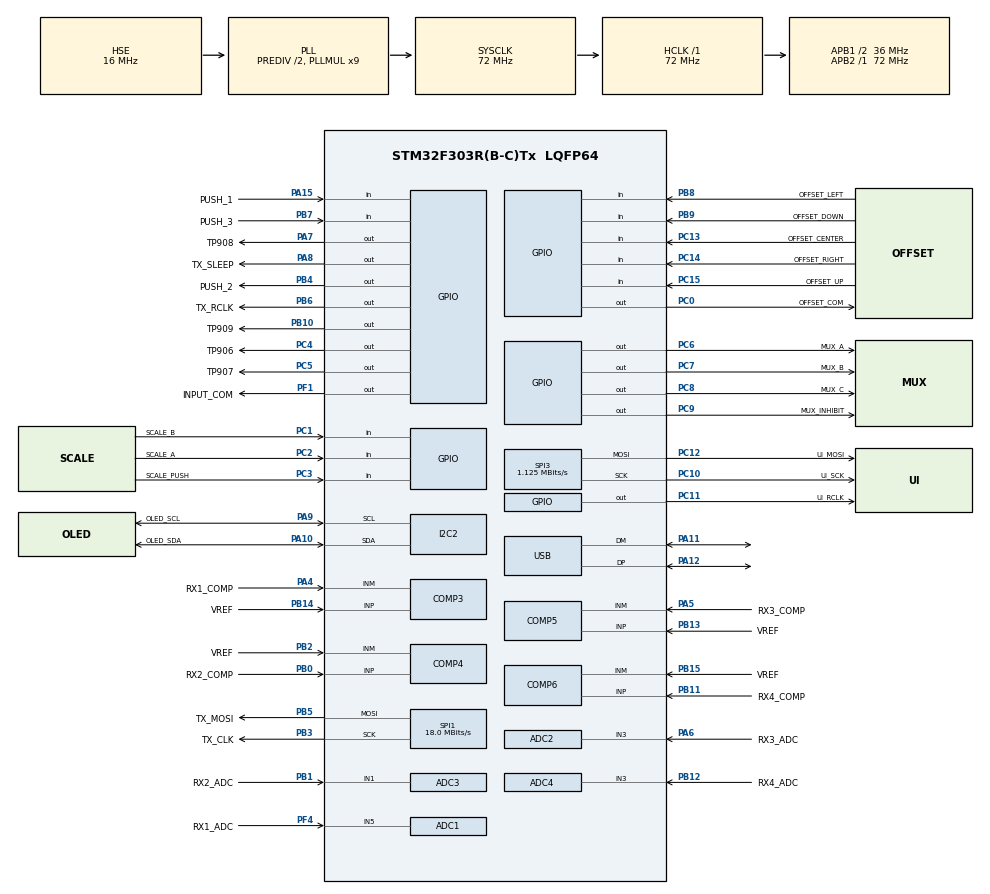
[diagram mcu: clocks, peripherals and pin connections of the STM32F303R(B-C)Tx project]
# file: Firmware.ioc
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ADC1.Channel-0\#ChannelRegularConversion=ADC_CHANNEL_5
ADC1.ClockPrescaler=ADC_CLOCK_SYNC_PCLK_DIV1
ADC1.NbrOfConversionFlag=1
ADC1.Offset-0\#ChannelRegularConversion=0
ADC1.OffsetNumber-0\#ChannelRegularConversion=ADC_OFFSET_NONE
ADC1.Rank-0\#ChannelRegularConversion=1
ADC1.SamplingTime-0\#ChannelRegularConversion=ADC_SAMPLETIME_1CYCLE_5
ADC1.SamplingTimeOPAMP-0\#ChannelRegularConversion=ADC_SAMPLETIME_19CYCLES_5
ADC1.master=1
ADC2.Channel-0\#ChannelRegularConversion=ADC_CHANNEL_3
ADC2.ClockPrescaler=ADC_CLOCK_SYNC_PCLK_DIV1
ADC2.NbrOfConversionFlag=1
ADC2.Offset-0\#ChannelRegularConversion=0
ADC2.OffsetNumber-0\#ChannelRegularConversion=ADC_OFFSET_NONE
ADC2.Rank-0\#ChannelRegularConversion=1
ADC2.SamplingTime-0\#ChannelRegularConversion=ADC_SAMPLETIME_1CYCLE_5
ADC2.SamplingTimeOPAMP-0\#ChannelRegularConversion=ADC_SAMPLETIME_19CYCLES_5
ADC3.Channel-0\#ChannelRegularConversion=ADC_CHANNEL_1
ADC3.ClockPrescaler=ADC_CLOCK_SYNC_PCLK_DIV1
ADC3.NbrOfConversionFlag=1
ADC3.Offset-0\#ChannelRegularConversion=0
ADC3.OffsetNumber-0\#ChannelRegularConversion=ADC_OFFSET_NONE
ADC3.Rank-0\#ChannelRegularConversion=1
ADC3.SamplingTime-0\#ChannelRegularConversion=ADC_SAMPLETIME_1CYCLE_5
ADC3.SamplingTimeOPAMP-0\#ChannelRegularConversion=ADC_SAMPLETIME_4CYCLES_5
ADC3.master=1
ADC4.Channel-0\#ChannelRegularConversion=ADC_CHANNEL_3
ADC4.ClockPrescaler=ADC_CLOCK_SYNC_PCLK_DIV1
ADC4.NbrOfConversionFlag=1
ADC4.Offset-0\#ChannelRegularConversion=0
ADC4.OffsetNumber-0\#ChannelRegularConversion=ADC_OFFSET_NONE
ADC4.Rank-0\#ChannelRegularConversion=1
ADC4.SamplingTime-0\#ChannelRegularConversion=ADC_SAMPLETIME_1CYCLE_5
ADC4.SamplingTimeOPAMP-0\#ChannelRegularConversion=ADC_SAMPLETIME_19CYCLES_5
Dma.ADC1.0.Direction=DMA_PERIPH_TO_MEMORY
Dma.ADC1.0.Instance=DMA1_Channel1
Dma.ADC1.0.MemDataAlignment=DMA_MDATAALIGN_HALFWORD
Dma.ADC1.0.MemInc=DMA_MINC_ENABLE
Dma.ADC1.0.Mode=DMA_NORMAL
Dma.ADC1.0.PeriphDataAlignment=DMA_PDATAALIGN_HALFWORD
Dma.ADC1.0.PeriphInc=DMA_PINC_DISABLE
Dma.ADC1.0.Priority=DMA_PRIORITY_MEDIUM
Dma.ADC2.1.Direction=DMA_PERIPH_TO_MEMORY
Dma.ADC2.1.Instance=DMA2_Channel1
Dma.ADC2.1.MemDataAlignment=DMA_MDATAALIGN_HALFWORD
Dma.ADC2.1.MemInc=DMA_MINC_ENABLE
Dma.ADC2.1.Mode=DMA_NORMAL
Dma.ADC2.1.PeriphDataAlignment=DMA_PDATAALIGN_HALFWORD
Dma.ADC2.1.PeriphInc=DMA_PINC_DISABLE
Dma.ADC2.1.Priority=DMA_PRIORITY_MEDIUM
Dma.ADC3.2.Direction=DMA_PERIPH_TO_MEMORY
Dma.ADC3.2.Instance=DMA2_Channel5
Dma.ADC3.2.MemDataAlignment=DMA_MDATAALIGN_HALFWORD
Dma.ADC3.2.MemInc=DMA_MINC_ENABLE
Dma.ADC3.2.Mode=DMA_NORMAL
Dma.ADC3.2.PeriphDataAlignment=DMA_PDATAALIGN_HALFWORD
Dma.ADC3.2.PeriphInc=DMA_PINC_DISABLE
Dma.ADC3.2.Priority=DMA_PRIORITY_MEDIUM
Dma.ADC4.3.Direction=DMA_PERIPH_TO_MEMORY
Dma.ADC4.3.Instance=DMA2_Channel2
Dma.ADC4.3.MemDataAlignment=DMA_MDATAALIGN_HALFWORD
Dma.ADC4.3.MemInc=DMA_MINC_ENABLE
Dma.ADC4.3.Mode=DMA_NORMAL
Dma.ADC4.3.PeriphDataAlignment=DMA_PDATAALIGN_HALFWORD
Dma.ADC4.3.PeriphInc=DMA_PINC_DISABLE
Dma.ADC4.3.Priority=DMA_PRIORITY_MEDIUM
Dma.Request0=ADC1
Dma.Request1=ADC2
Dma.Request2=ADC3
Dma.Request3=ADC4
FREERTOS.Tasks01=USB_Transmit,0,128,StartUSB_Transmit,Default,NULL,Dynamic,NULL,NULL;LED_Write,-2,128,StartLED_Write,Default,NULL,Dynamic,NULL,NULL;UI_Read,-2,128,StartUI_Read,Default,NULL,Dynamic,NULL,NULL
I2C2.Timing=0x00201D2B
Mcu.Family=STM32F3
Mcu.Name=STM32F303R(B-C)Tx
Mcu.Package=LQFP64
NVIC.ADC1_2_IRQn=true\:5\:0\:false\:false\:true\:true\:true\:true\:true
NVIC.ADC3_IRQn=true\:5\:0\:false\:false\:true\:true\:true\:true\:true
NVIC.ADC4_IRQn=true\:5\:0\:false\:false\:true\:true\:true\:true\:true
NVIC.DMA1_Channel1_IRQn=true\:5\:0\:false\:false\:true\:true\:false\:true\:true
NVIC.DMA2_Channel1_IRQn=true\:5\:0\:false\:false\:true\:true\:false\:true\:true
NVIC.DMA2_Channel2_IRQn=true\:5\:0\:false\:false\:true\:true\:false\:true\:true
NVIC.DMA2_Channel5_IRQn=true\:5\:0\:false\:false\:true\:true\:false\:true\:true
NVIC.PriorityGroup=NVIC_PRIORITYGROUP_4
NVIC.TIM1_UP_TIM16_IRQn=true\:15\:0\:false\:false\:true\:false\:false\:true\:true
NVIC.TimeBase=TIM1_UP_TIM16_IRQn
NVIC.TimeBaseIP=TIM1
NVIC.USB_LP_CAN_RX0_IRQn=true\:5\:0\:false\:false\:true\:true\:false\:true\:true
PA10.GPIO_Label=OLED_SDA
PA10.Mode=I2C
PA10.Signal=I2C2_SDA
PA11.Mode=Device
PA11.Signal=USB_DM
PA12.Mode=Device
PA12.Signal=USB_DP
PA13.Mode=Serial_Wire
PA13.Signal=SYS_JTMS-SWDIO
PA14.Mode=Serial_Wire
PA14.Signal=SYS_JTCK-SWCLK
PA15.GPIO_Label=PUSH_1
PA15.Signal=GPIO_Input
PA4.GPIO_Label=RX1_COMP
PA4.Mode=INM
PA4.Signal=COMP3_INM
PA5.GPIO_Label=RX3_COMP
PA5.Mode=INM
PA5.Signal=COMP5_INM
PA6.GPIO_Label=RX3_ADC
PA6.Mode=IN3-Single-Ended
PA6.Signal=ADC2_IN3
PA7.GPIO_Label=TP908
PA7.Signal=GPIO_Output
PA8.GPIO_Label=TX_SLEEP
PA8.Signal=GPIO_Output
PA9.GPIO_Label=OLED_SCL
PA9.Mode=I2C
PA9.Signal=I2C2_SCL
PB0.GPIO_Label=RX2_COMP
PB0.Mode=INP
PB0.Signal=COMP4_INP
PB1.GPIO_Label=RX2_ADC
PB1.Mode=IN1-Single-Ended
PB1.Signal=ADC3_IN1
PB10.GPIO_Label=TP909
PB10.Signal=GPIO_Output
PB11.GPIO_Label=RX4_COMP
PB11.Mode=INP
PB11.Signal=COMP6_INP
PB12.GPIO_Label=RX4_ADC
PB12.Mode=IN3-Single-Ended
PB12.Signal=ADC4_IN3
PB13.GPIO_Label=VREF
PB13.Mode=INP
PB13.Signal=COMP5_INP
PB14.GPIO_Label=VREF
PB14.Mode=INP
PB14.Signal=COMP3_INP
PB15.GPIO_Label=VREF
PB15.Mode=INM
PB15.Signal=COMP6_INM
PB2.GPIO_Label=VREF
PB2.Mode=INM
PB2.Signal=COMP4_INM
PB3.GPIO_Label=TX_CLK
PB3.Mode=TX_Only_Simplex_Unidirect_Master
PB3.Signal=SPI1_SCK
PB4.GPIO_Label=PUSH_2
PB4.Signal=GPIO_Output
PB5.GPIO_Label=TX_MOSI
PB5.Mode=TX_Only_Simplex_Unidirect_Master
PB5.Signal=SPI1_MOSI
PB6.GPIO_Label=TX_RCLK
PB6.Signal=GPIO_Output
PB7.GPIO_Label=PUSH_3
PB7.Signal=GPIO_Input
PB8.GPIO_Label=OFFSET_LEFT
PB8.Signal=GPIO_Input
PB9.GPIO_Label=OFFSET_DOWN
PB9.Signal=GPIO_Input
PC0.GPIO_Label=OFFSET_COM
PC0.Signal=GPIO_Output
PC1.GPIO_Label=SCALE_B
PC1.Signal=GPIO_Input
PC10.GPIO_Label=UI_SCK
PC10.Mode=TX_Only_Simplex_Unidirect_Master
PC10.Signal=SPI3_SCK
PC11.GPIO_Label=UI_RCLK
PC11.Signal=GPIO_Output
PC12.GPIO_Label=UI_MOSI
PC12.Mode=TX_Only_Simplex_Unidirect_Master
PC12.Signal=SPI3_MOSI
PC13.GPIO_Label=OFFSET_CENTER
PC13.Signal=GPIO_Input
PC14-OSC32_IN.GPIO_Label=OFFSET_RIGHT
PC14-OSC32_IN.Signal=GPIO_Input
PC15-OSC32_OUT.GPIO_Label=OFFSET_UP
PC15-OSC32_OUT.Signal=GPIO_Input
PC2.GPIO_Label=SCALE_A
PC2.Signal=GPIO_Input
PC3.GPIO_Label=SCALE_PUSH
PC3.Signal=GPIO_Input
PC4.GPIO_Label=TP906
PC4.Signal=GPIO_Output
PC5.GPIO_Label=TP907
PC5.Signal=GPIO_Output
PC6.GPIO_Label=MUX_A
PC6.Signal=GPIO_Output
PC7.GPIO_Label=MUX_B
PC7.Signal=GPIO_Output
PC8.GPIO_Label=MUX_C
PC8.Signal=GPIO_Output
PC9.GPIO_Label=MUX_INHIBIT
PC9.Signal=GPIO_Output
PF0-OSC_IN.Mode=HSE-External-Clock-Source
PF0-OSC_IN.Signal=RCC_OSC_IN
PF1-OSC_OUT.GPIO_Label=INPUT_COM
PF1-OSC_OUT.Signal=GPIO_Output
PF4.GPIO_Label=RX1_ADC
PF4.Mode=IN5-Single-Ended
PF4.Signal=ADC1_IN5
ProjectManager.HeapSize=0x200
ProjectManager.StackSize=0x400
ProjectManager.TargetToolchain=STM32CubeIDE
RCC.AHBFreq_Value=72000000
RCC.APB1CLKDivider=RCC_HCLK_DIV2
RCC.APB1Freq_Value=36000000
RCC.APB1TimFreq_Value=72000000
RCC.APB2Freq_Value=72000000
RCC.APB2TimFreq_Value=72000000
RCC.CortexFreq_Value=72000000
RCC.HCLKFreq_Value=72000000
RCC.HSE_VALUE=16000000
RCC.HSI_VALUE=8000000
RCC.LSE_VALUE=32768
RCC.PLLMUL=RCC_PLL_MUL9
RCC.PRESCALERUSB=RCC_USBCLKSOURCE_PLL_DIV1_5
RCC.RCC_PLLsource_Clock_Source_FROM_HSE=RCC_HSE_PREDIV_DIV2
RCC.SYSCLKFreq_VALUE=72000000
RCC.SYSCLKSourceVirtual=RCC_SYSCLKSOURCE_PLLCLK
RCC.USBFreq_Value=48000000
SPI1.BaudRatePrescaler=SPI_BAUDRATEPRESCALER_4
SPI1.CalculateBaudRate=18.0 MBits/s
SPI1.Direction=SPI_DIRECTION_2LINES
SPI1.Mode=SPI_MODE_MASTER
SPI1.VirtualType=VM_MASTER
SPI3.BaudRatePrescaler=SPI_BAUDRATEPRESCALER_32
SPI3.CalculateBaudRate=1.125 MBits/s
SPI3.DataSize=SPI_DATASIZE_8BIT
SPI3.Direction=SPI_DIRECTION_2LINES
SPI3.FirstBit=SPI_FIRSTBIT_LSB
SPI3.Mode=SPI_MODE_MASTER
SPI3.VirtualType=VM_MASTER
USB_DEVICE.CLASS_NAME_FS=CDC
USB_DEVICE.VirtualMode=Cdc
USB_DEVICE.VirtualModeFS=Cdc_FS
VP_FREERTOS_VS_CMSIS_V1.Mode=CMSIS_V1
VP_SYS_VS_tim1.Mode=TIM1
VP_USB_DEVICE_VS_USB_DEVICE_CDC_FS.Mode=CDC_FS
board=custom

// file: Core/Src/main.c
/* USER CODE BEGIN Header */
/**
  ******************************************************************************
  * @file           : main.c
  * @brief          : Main program body
  ******************************************************************************
  * @attention
  *
  * Copyright (c) 2025 STMicroelectronics.
  * All rights reserved.
  *
  * This software is licensed under terms that can be found in the LICENSE file
  * in the root directory of this software component.
  * If no LICENSE file comes with this software, it is provided AS-IS.
  *
  ******************************************************************************
  */
/* USER CODE END Header */
#include "main.h"
#include "cmsis_os.h"
#include "usb_device.h"

/* USER CODE BEGIN Includes */
#include "usbd_cdc_if.h"
#include "string.h"
#include "ssd1306_fonts.h"
#include "ssd1306.h"
#include "ssd1306_conf.h"
#include "usbd_core.h"
/* USER CODE END Includes */

ADC_HandleTypeDef hadc1;
ADC_HandleTypeDef hadc2;
ADC_HandleTypeDef hadc3;
ADC_HandleTypeDef hadc4;
DMA_HandleTypeDef hdma_adc1;
DMA_HandleTypeDef hdma_adc2;
DMA_HandleTypeDef hdma_adc3;
DMA_HandleTypeDef hdma_adc4;

COMP_HandleTypeDef hcomp3;
COMP_HandleTypeDef hcomp4;
COMP_HandleTypeDef hcomp5;
COMP_HandleTypeDef hcomp6;

I2C_HandleTypeDef hi2c2;

SPI_HandleTypeDef hspi1;
SPI_HandleTypeDef hspi3;

osThreadId USB_TransmitHandle;
osThreadId LED_WriteHandle;
osThreadId UI_ReadHandle;

void SystemClock_Config(void);
static void MX_GPIO_Init(void);
static void MX_DMA_Init(void);
static void MX_ADC3_Init(void);
static void MX_COMP3_Init(void);
static void MX_COMP4_Init(void);
static void MX_COMP5_Init(void);
static void MX_COMP6_Init(void);
static void MX_ADC1_Init(void);
static void MX_ADC2_Init(void);
static void MX_ADC4_Init(void);
static void MX_I2C2_Init(void);
static void MX_SPI1_Init(void);
static void MX_SPI3_Init(void);
void StartUSB_Transmit(void const * argument);
void StartLED_Write(void const * argument);
void StartUI_Read(void const * argument);

/* USER CODE BEGIN 0 */
char *usbdata = "Poles: Zeroes: \n";
char *startupmessage = "STARTING...";

uint8_t led_status = 0b01111111;

int32_t encoder1_count = 0;
int32_t encoder2_count = 0;
uint8_t last_a_encoder1 = 0;
uint8_t last_a_encoder2 = 0;

uint8_t button1_state = 0;
uint8_t button2_state = 0;
uint8_t button3_state = 0;
uint8_t encoder1_button_state = 0;
uint8_t encoder2_button_state = 0;

uint8_t dpad1_up = 0;
uint8_t dpad1_down = 0;
uint8_t dpad1_left = 0;
uint8_t dpad1_right = 0;
uint8_t dpad1_button = 0;
uint8_t dpad2_up = 0;
uint8_t dpad2_down = 0;
uint8_t dpad2_left = 0;
uint8_t dpad2_right = 0;
uint8_t dpad2_button = 0;

uint8_t a1 = 0;
uint8_t a2 = 0;
uint8_t b1 = 0;
uint8_t b2 = 0;
/* USER CODE END 0 */

int main(void)
{

  /* MCU Configuration--------------------------------------------------------*/

  /* Reset of all peripherals, Initializes the Flash interface and the Systick. */
  HAL_Init();

  /* Configure the system clock */
  SystemClock_Config();

  /* Initialize all configured peripherals */
  MX_GPIO_Init();
  MX_DMA_Init();
  MX_ADC3_Init();
  MX_COMP3_Init();
  MX_COMP4_Init();
  MX_COMP5_Init();
  MX_COMP6_Init();
  MX_ADC1_Init();
  MX_ADC2_Init();
  MX_ADC4_Init();
  MX_I2C2_Init();
  MX_SPI1_Init();
  MX_SPI3_Init();
  /* USER CODE BEGIN 2 */

  ssd1306_Init();
  ssd1306_Fill(White);
  ssd1306_SetCursor(6, 20);
  ssd1306_WriteString(startupmessage, Font_6x8, Black);
  ssd1306_UpdateScreen();

  MX_USB_DEVICE_Init();

  /* USER CODE END 2 */

  /* Create the thread(s) */
  /* definition and creation of USB_Transmit */
  osThreadDef(USB_Transmit, StartUSB_Transmit, osPriorityNormal, 0, 128);
  USB_TransmitHandle = osThreadCreate(osThread(USB_Transmit), NULL);

  /* definition and creation of LED_Write */
  osThreadDef(LED_Write, StartLED_Write, osPriorityLow, 0, 128);
  LED_WriteHandle = osThreadCreate(osThread(LED_Write), NULL);

  /* definition and creation of UI_Read */
  osThreadDef(UI_Read, StartUI_Read, osPriorityLow, 0, 128);
  UI_ReadHandle = osThreadCreate(osThread(UI_Read), NULL);

  /* Start scheduler */
  osKernelStart();

  /* We should never get here as control is now taken by the scheduler */

  /* Infinite loop */
  while (1)
  {

  }
}

void SystemClock_Config(void)
{
  RCC_OscInitTypeDef RCC_OscInitStruct = {0};
  RCC_ClkInitTypeDef RCC_ClkInitStruct = {0};
  RCC_PeriphCLKInitTypeDef PeriphClkInit = {0};

  /** Initializes the RCC Oscillators according to the specified parameters
  * in the RCC_OscInitTypeDef structure.
  */
  RCC_OscInitStruct.OscillatorType = RCC_OSCILLATORTYPE_HSI|RCC_OSCILLATORTYPE_HSE;
  RCC_OscInitStruct.HSEState = RCC_HSE_BYPASS;
  RCC_OscInitStruct.HSEPredivValue = RCC_HSE_PREDIV_DIV2;
  RCC_OscInitStruct.HSIState = RCC_HSI_ON;
  RCC_OscInitStruct.HSICalibrationValue = RCC_HSICALIBRATION_DEFAULT;
  RCC_OscInitStruct.PLL.PLLState = RCC_PLL_ON;
  RCC_OscInitStruct.PLL.PLLSource = RCC_PLLSOURCE_HSE;
  RCC_OscInitStruct.PLL.PLLMUL = RCC_PLL_MUL9;
  if (HAL_RCC_OscConfig(&RCC_OscInitStruct) != HAL_OK)
  {
    Error_Handler();
  }

  /** Initializes the CPU, AHB and APB buses clocks
  */
  RCC_ClkInitStruct.ClockType = RCC_CLOCKTYPE_HCLK|RCC_CLOCKTYPE_SYSCLK
                              |RCC_CLOCKTYPE_PCLK1|RCC_CLOCKTYPE_PCLK2;
  RCC_ClkInitStruct.SYSCLKSource = RCC_SYSCLKSOURCE_PLLCLK;
  RCC_ClkInitStruct.AHBCLKDivider = RCC_SYSCLK_DIV1;
  RCC_ClkInitStruct.APB1CLKDivider = RCC_HCLK_DIV2;
  RCC_ClkInitStruct.APB2CLKDivider = RCC_HCLK_DIV1;

  if (HAL_RCC_ClockConfig(&RCC_ClkInitStruct, FLASH_LATENCY_2) != HAL_OK)
  {
    Error_Handler();
  }
  PeriphClkInit.PeriphClockSelection = RCC_PERIPHCLK_USB|RCC_PERIPHCLK_I2C2;
  PeriphClkInit.I2c2ClockSelection = RCC_I2C2CLKSOURCE_HSI;
  PeriphClkInit.USBClockSelection = RCC_USBCLKSOURCE_PLL_DIV1_5;
  if (HAL_RCCEx_PeriphCLKConfig(&PeriphClkInit) != HAL_OK)
  {
    Error_Handler();
  }
}

static void MX_ADC1_Init(void)
{

  ADC_MultiModeTypeDef multimode = {0};
  ADC_ChannelConfTypeDef sConfig = {0};

  /** Common config
  */
  hadc1.Instance = ADC1;
  hadc1.Init.ClockPrescaler = ADC_CLOCK_SYNC_PCLK_DIV1;
  hadc1.Init.Resolution = ADC_RESOLUTION_12B;
  hadc1.Init.ScanConvMode = ADC_SCAN_DISABLE;
  hadc1.Init.ContinuousConvMode = DISABLE;
  hadc1.Init.DiscontinuousConvMode = DISABLE;
  hadc1.Init.ExternalTrigConvEdge = ADC_EXTERNALTRIGCONVEDGE_NONE;
  hadc1.Init.ExternalTrigConv = ADC_SOFTWARE_START;
  hadc1.Init.DataAlign = ADC_DATAALIGN_RIGHT;
  hadc1.Init.NbrOfConversion = 1;
  hadc1.Init.DMAContinuousRequests = DISABLE;
  hadc1.Init.EOCSelection = ADC_EOC_SINGLE_CONV;
  hadc1.Init.LowPowerAutoWait = DISABLE;
  hadc1.Init.Overrun = ADC_OVR_DATA_OVERWRITTEN;
  if (HAL_ADC_Init(&hadc1) != HAL_OK)
  {
    Error_Handler();
  }

  /** Configure the ADC multi-mode
  */
  multimode.Mode = ADC_MODE_INDEPENDENT;
  if (HAL_ADCEx_MultiModeConfigChannel(&hadc1, &multimode) != HAL_OK)
  {
    Error_Handler();
  }

  /** Configure Regular Channel
  */
  sConfig.Channel = ADC_CHANNEL_5;
  sConfig.Rank = ADC_REGULAR_RANK_1;
  sConfig.SingleDiff = ADC_SINGLE_ENDED;
  sConfig.SamplingTime = ADC_SAMPLETIME_1CYCLE_5;
  sConfig.OffsetNumber = ADC_OFFSET_NONE;
  sConfig.Offset = 0;
  if (HAL_ADC_ConfigChannel(&hadc1, &sConfig) != HAL_OK)
  {
    Error_Handler();
  }

}

static void MX_ADC2_Init(void)
{

  ADC_ChannelConfTypeDef sConfig = {0};

  /** Common config
  */
  hadc2.Instance = ADC2;
  hadc2.Init.ClockPrescaler = ADC_CLOCK_SYNC_PCLK_DIV1;
  hadc2.Init.Resolution = ADC_RESOLUTION_12B;
  hadc2.Init.ScanConvMode = ADC_SCAN_DISABLE;
  hadc2.Init.ContinuousConvMode = DISABLE;
  hadc2.Init.DiscontinuousConvMode = DISABLE;
  hadc2.Init.ExternalTrigConvEdge = ADC_EXTERNALTRIGCONVEDGE_NONE;
  hadc2.Init.ExternalTrigConv = ADC_SOFTWARE_START;
  hadc2.Init.DataAlign = ADC_DATAALIGN_RIGHT;
  hadc2.Init.NbrOfConversion = 1;
  hadc2.Init.DMAContinuousRequests = DISABLE;
  hadc2.Init.EOCSelection = ADC_EOC_SINGLE_CONV;
  hadc2.Init.LowPowerAutoWait = DISABLE;
  hadc2.Init.Overrun = ADC_OVR_DATA_OVERWRITTEN;
  if (HAL_ADC_Init(&hadc2) != HAL_OK)
  {
    Error_Handler();
  }

  /** Configure Regular Channel
  */
  sConfig.Channel = ADC_CHANNEL_3;
  sConfig.Rank = ADC_REGULAR_RANK_1;
  sConfig.SingleDiff = ADC_SINGLE_ENDED;
  sConfig.SamplingTime = ADC_SAMPLETIME_1CYCLE_5;
  sConfig.OffsetNumber = ADC_OFFSET_NONE;
  sConfig.Offset = 0;
  if (HAL_ADC_ConfigChannel(&hadc2, &sConfig) != HAL_OK)
  {
    Error_Handler();
  }

}

static void MX_ADC3_Init(void)
{

  ADC_MultiModeTypeDef multimode = {0};
  ADC_ChannelConfTypeDef sConfig = {0};

  /** Common config
  */
  hadc3.Instance = ADC3;
  hadc3.Init.ClockPrescaler = ADC_CLOCK_SYNC_PCLK_DIV1;
  hadc3.Init.Resolution = ADC_RESOLUTION_12B;
  hadc3.Init.ScanConvMode = ADC_SCAN_DISABLE;
  hadc3.Init.ContinuousConvMode = DISABLE;
  hadc3.Init.DiscontinuousConvMode = DISABLE;
  hadc3.Init.ExternalTrigConvEdge = ADC_EXTERNALTRIGCONVEDGE_NONE;
  hadc3.Init.ExternalTrigConv = ADC_SOFTWARE_START;
  hadc3.Init.DataAlign = ADC_DATAALIGN_RIGHT;
  hadc3.Init.NbrOfConversion = 1;
  hadc3.Init.DMAContinuousRequests = DISABLE;
  hadc3.Init.EOCSelection = ADC_EOC_SINGLE_CONV;
  hadc3.Init.LowPowerAutoWait = DISABLE;
  hadc3.Init.Overrun = ADC_OVR_DATA_OVERWRITTEN;
  if (HAL_ADC_Init(&hadc3) != HAL_OK)
  {
    Error_Handler();
  }

  /** Configure the ADC multi-mode
  */
  multimode.Mode = ADC_MODE_INDEPENDENT;
  if (HAL_ADCEx_MultiModeConfigChannel(&hadc3, &multimode) != HAL_OK)
  {
    Error_Handler();
  }

  /** Configure Regular Channel
  */
  sConfig.Channel = ADC_CHANNEL_1;
  sConfig.Rank = ADC_REGULAR_RANK_1;
  sConfig.SingleDiff = ADC_SINGLE_ENDED;
  sConfig.SamplingTime = ADC_SAMPLETIME_1CYCLE_5;
  sConfig.OffsetNumber = ADC_OFFSET_NONE;
  sConfig.Offset = 0;
  if (HAL_ADC_ConfigChannel(&hadc3, &sConfig) != HAL_OK)
  {
    Error_Handler();
  }

}

static void MX_ADC4_Init(void)
{

  ADC_ChannelConfTypeDef sConfig = {0};

  /** Common config
  */
  hadc4.Instance = ADC4;
  hadc4.Init.ClockPrescaler = ADC_CLOCK_SYNC_PCLK_DIV1;
  hadc4.Init.Resolution = ADC_RESOLUTION_12B;
  hadc4.Init.ScanConvMode = ADC_SCAN_DISABLE;
  hadc4.Init.ContinuousConvMode = DISABLE;
  hadc4.Init.DiscontinuousConvMode = DISABLE;
  hadc4.Init.ExternalTrigConvEdge = ADC_EXTERNALTRIGCONVEDGE_NONE;
  hadc4.Init.ExternalTrigConv = ADC_SOFTWARE_START;
  hadc4.Init.DataAlign = ADC_DATAALIGN_RIGHT;
  hadc4.Init.NbrOfConversion = 1;
  hadc4.Init.DMAContinuousRequests = DISABLE;
  hadc4.Init.EOCSelection = ADC_EOC_SINGLE_CONV;
  hadc4.Init.LowPowerAutoWait = DISABLE;
  hadc4.Init.Overrun = ADC_OVR_DATA_OVERWRITTEN;
  if (HAL_ADC_Init(&hadc4) != HAL_OK)
  {
    Error_Handler();
  }

  /** Configure Regular Channel
  */
  sConfig.Channel = ADC_CHANNEL_3;
  sConfig.Rank = ADC_REGULAR_RANK_1;
  sConfig.SingleDiff = ADC_SINGLE_ENDED;
  sConfig.SamplingTime = ADC_SAMPLETIME_1CYCLE_5;
  sConfig.OffsetNumber = ADC_OFFSET_NONE;
  sConfig.Offset = 0;
  if (HAL_ADC_ConfigChannel(&hadc4, &sConfig) != HAL_OK)
  {
    Error_Handler();
  }

}

static void MX_COMP3_Init(void)
{

  hcomp3.Instance = COMP3;
  hcomp3.Init.InvertingInput = COMP_INVERTINGINPUT_DAC1_CH1;
  hcomp3.Init.NonInvertingInput = COMP_NONINVERTINGINPUT_IO1;
  hcomp3.Init.Output = COMP_OUTPUT_NONE;
  hcomp3.Init.OutputPol = COMP_OUTPUTPOL_NONINVERTED;
  hcomp3.Init.Hysteresis = COMP_HYSTERESIS_NONE;
  hcomp3.Init.BlankingSrce = COMP_BLANKINGSRCE_NONE;
  hcomp3.Init.Mode = COMP_MODE_HIGHSPEED;
  hcomp3.Init.WindowMode = COMP_WINDOWMODE_DISABLE;
  hcomp3.Init.TriggerMode = COMP_TRIGGERMODE_NONE;
  if (HAL_COMP_Init(&hcomp3) != HAL_OK)
  {
    Error_Handler();
  }

}

static void MX_COMP4_Init(void)
{

  hcomp4.Instance = COMP4;
  hcomp4.Init.InvertingInput = COMP_INVERTINGINPUT_IO2;
  hcomp4.Init.NonInvertingInput = COMP_NONINVERTINGINPUT_IO1;
  hcomp4.Init.Output = COMP_OUTPUT_NONE;
  hcomp4.Init.OutputPol = COMP_OUTPUTPOL_NONINVERTED;
  hcomp4.Init.Hysteresis = COMP_HYSTERESIS_NONE;
  hcomp4.Init.BlankingSrce = COMP_BLANKINGSRCE_NONE;
  hcomp4.Init.Mode = COMP_MODE_HIGHSPEED;
  hcomp4.Init.WindowMode = COMP_WINDOWMODE_DISABLE;
  hcomp4.Init.TriggerMode = COMP_TRIGGERMODE_NONE;
  if (HAL_COMP_Init(&hcomp4) != HAL_OK)
  {
    Error_Handler();
  }

}

static void MX_COMP5_Init(void)
{

  hcomp5.Instance = COMP5;
  hcomp5.Init.InvertingInput = COMP_INVERTINGINPUT_DAC1_CH2;
  hcomp5.Init.NonInvertingInput = COMP_NONINVERTINGINPUT_IO2;
  hcomp5.Init.Output = COMP_OUTPUT_NONE;
  hcomp5.Init.OutputPol = COMP_OUTPUTPOL_NONINVERTED;
  hcomp5.Init.Hysteresis = COMP_HYSTERESIS_NONE;
  hcomp5.Init.BlankingSrce = COMP_BLANKINGSRCE_NONE;
  hcomp5.Init.Mode = COMP_MODE_HIGHSPEED;
  hcomp5.Init.WindowMode = COMP_WINDOWMODE_DISABLE;
  hcomp5.Init.TriggerMode = COMP_TRIGGERMODE_NONE;
  if (HAL_COMP_Init(&hcomp5) != HAL_OK)
  {
    Error_Handler();
  }

}

static void MX_COMP6_Init(void)
{

  hcomp6.Instance = COMP6;
  hcomp6.Init.InvertingInput = COMP_INVERTINGINPUT_IO2;
  hcomp6.Init.NonInvertingInput = COMP_NONINVERTINGINPUT_IO2;
  hcomp6.Init.Output = COMP_OUTPUT_NONE;
  hcomp6.Init.OutputPol = COMP_OUTPUTPOL_NONINVERTED;
  hcomp6.Init.Hysteresis = COMP_HYSTERESIS_NONE;
  hcomp6.Init.BlankingSrce = COMP_BLANKINGSRCE_NONE;
  hcomp6.Init.Mode = COMP_MODE_HIGHSPEED;
  hcomp6.Init.WindowMode = COMP_WINDOWMODE_DISABLE;
  hcomp6.Init.TriggerMode = COMP_TRIGGERMODE_NONE;
  if (HAL_COMP_Init(&hcomp6) != HAL_OK)
  {
    Error_Handler();
  }

}

static void MX_I2C2_Init(void)
{

  hi2c2.Instance = I2C2;
  hi2c2.Init.Timing = 0x00201D2B;
  hi2c2.Init.OwnAddress1 = 0;
  hi2c2.Init.AddressingMode = I2C_ADDRESSINGMODE_7BIT;
  hi2c2.Init.DualAddressMode = I2C_DUALADDRESS_DISABLE;
  hi2c2.Init.OwnAddress2 = 0;
  hi2c2.Init.OwnAddress2Masks = I2C_OA2_NOMASK;
  hi2c2.Init.GeneralCallMode = I2C_GENERALCALL_DISABLE;
  hi2c2.Init.NoStretchMode = I2C_NOSTRETCH_DISABLE;
  if (HAL_I2C_Init(&hi2c2) != HAL_OK)
  {
    Error_Handler();
  }

  /** Configure Analogue filter
  */
  if (HAL_I2CEx_ConfigAnalogFilter(&hi2c2, I2C_ANALOGFILTER_ENABLE) != HAL_OK)
  {
    Error_Handler();
  }

  /** Configure Digital filter
  */
  if (HAL_I2CEx_ConfigDigitalFilter(&hi2c2, 0) != HAL_OK)
  {
    Error_Handler();
  }

}

static void MX_SPI1_Init(void)
{

  /* SPI1 parameter configuration*/
  hspi1.Instance = SPI1;
  hspi1.Init.Mode = SPI_MODE_MASTER;
  hspi1.Init.Direction = SPI_DIRECTION_2LINES;
  hspi1.Init.DataSize = SPI_DATASIZE_4BIT;
  hspi1.Init.CLKPolarity = SPI_POLARITY_LOW;
  hspi1.Init.CLKPhase = SPI_PHASE_1EDGE;
  hspi1.Init.NSS = SPI_NSS_SOFT;
  hspi1.Init.BaudRatePrescaler = SPI_BAUDRATEPRESCALER_4;
  hspi1.Init.FirstBit = SPI_FIRSTBIT_MSB;
  hspi1.Init.TIMode = SPI_TIMODE_DISABLE;
  hspi1.Init.CRCCalculation = SPI_CRCCALCULATION_DISABLE;
  hspi1.Init.CRCPolynomial = 7;
  hspi1.Init.CRCLength = SPI_CRC_LENGTH_DATASIZE;
  hspi1.Init.NSSPMode = SPI_NSS_PULSE_ENABLE;
  if (HAL_SPI_Init(&hspi1) != HAL_OK)
  {
    Error_Handler();
  }

}

static void MX_SPI3_Init(void)
{

  /* SPI3 parameter configuration*/
  hspi3.Instance = SPI3;
  hspi3.Init.Mode = SPI_MODE_MASTER;
  hspi3.Init.Direction = SPI_DIRECTION_2LINES;
  hspi3.Init.DataSize = SPI_DATASIZE_8BIT;
  hspi3.Init.CLKPolarity = SPI_POLARITY_LOW;
  hspi3.Init.CLKPhase = SPI_PHASE_1EDGE;
  hspi3.Init.NSS = SPI_NSS_SOFT;
  hspi3.Init.BaudRatePrescaler = SPI_BAUDRATEPRESCALER_32;
  hspi3.Init.FirstBit = SPI_FIRSTBIT_LSB;
  hspi3.Init.TIMode = SPI_TIMODE_DISABLE;
  hspi3.Init.CRCCalculation = SPI_CRCCALCULATION_DISABLE;
  hspi3.Init.CRCPolynomial = 7;
  hspi3.Init.CRCLength = SPI_CRC_LENGTH_DATASIZE;
  hspi3.Init.NSSPMode = SPI_NSS_PULSE_ENABLE;
  if (HAL_SPI_Init(&hspi3) != HAL_OK)
  {
    Error_Handler();
  }

}

static void MX_DMA_Init(void)
{

  /* DMA controller clock enable */
  __HAL_RCC_DMA1_CLK_ENABLE();
  __HAL_RCC_DMA2_CLK_ENABLE();

  /* DMA interrupt init */
  /* DMA1_Channel1_IRQn interrupt configuration */
  HAL_NVIC_SetPriority(DMA1_Channel1_IRQn, 5, 0);
  HAL_NVIC_EnableIRQ(DMA1_Channel1_IRQn);
  /* DMA2_Channel1_IRQn interrupt configuration */
  HAL_NVIC_SetPriority(DMA2_Channel1_IRQn, 5, 0);
  HAL_NVIC_EnableIRQ(DMA2_Channel1_IRQn);
  /* DMA2_Channel2_IRQn interrupt configuration */
  HAL_NVIC_SetPriority(DMA2_Channel2_IRQn, 5, 0);
  HAL_NVIC_EnableIRQ(DMA2_Channel2_IRQn);
  /* DMA2_Channel5_IRQn interrupt configuration */
  HAL_NVIC_SetPriority(DMA2_Channel5_IRQn, 5, 0);
  HAL_NVIC_EnableIRQ(DMA2_Channel5_IRQn);

}

static void MX_GPIO_Init(void)
{
  GPIO_InitTypeDef GPIO_InitStruct = {0};

  /* GPIO Ports Clock Enable */
  __HAL_RCC_GPIOC_CLK_ENABLE();
  __HAL_RCC_GPIOF_CLK_ENABLE();
  __HAL_RCC_GPIOA_CLK_ENABLE();
  __HAL_RCC_GPIOB_CLK_ENABLE();

  /*Configure GPIO pin Output Level */
  HAL_GPIO_WritePin(INPUT_COM_GPIO_Port, INPUT_COM_Pin, GPIO_PIN_RESET);

  /*Configure GPIO pin Output Level */
  HAL_GPIO_WritePin(GPIOC, OFFSET_COM_Pin|TP906_Pin|TP907_Pin|MUX_A_Pin
                          |MUX_B_Pin|MUX_C_Pin|MUX_INHIBIT_Pin|UI_RCLK_Pin, GPIO_PIN_RESET);

  /*Configure GPIO pin Output Level */
  HAL_GPIO_WritePin(GPIOA, TP908_Pin|TX_SLEEP_Pin, GPIO_PIN_RESET);

  /*Configure GPIO pin Output Level */
  HAL_GPIO_WritePin(GPIOB, TP909_Pin|PUSH_2_Pin|TX_RCLK_Pin, GPIO_PIN_RESET);

  /*Configure GPIO pins : OFFSET_CENTER_Pin OFFSET_RIGHT_Pin OFFSET_UP_Pin SCALE_B_Pin
                           SCALE_A_Pin SCALE_PUSH_Pin */
  GPIO_InitStruct.Pin = OFFSET_CENTER_Pin|OFFSET_RIGHT_Pin|OFFSET_UP_Pin|SCALE_B_Pin
                          |SCALE_A_Pin|SCALE_PUSH_Pin;
  GPIO_InitStruct.Mode = GPIO_MODE_INPUT;
  GPIO_InitStruct.Pull = GPIO_NOPULL;
  HAL_GPIO_Init(GPIOC, &GPIO_InitStruct);

  /*Configure GPIO pin : INPUT_COM_Pin */
  GPIO_InitStruct.Pin = INPUT_COM_Pin;
  GPIO_InitStruct.Mode = GPIO_MODE_OUTPUT_PP;
  GPIO_InitStruct.Pull = GPIO_NOPULL;
  GPIO_InitStruct.Speed = GPIO_SPEED_FREQ_LOW;
  HAL_GPIO_Init(INPUT_COM_GPIO_Port, &GPIO_InitStruct);

  /*Configure GPIO pins : OFFSET_COM_Pin TP906_Pin TP907_Pin MUX_A_Pin
                           MUX_B_Pin MUX_C_Pin MUX_INHIBIT_Pin UI_RCLK_Pin */
  GPIO_InitStruct.Pin = OFFSET_COM_Pin|TP906_Pin|TP907_Pin|MUX_A_Pin
                          |MUX_B_Pin|MUX_C_Pin|MUX_INHIBIT_Pin|UI_RCLK_Pin;
  GPIO_InitStruct.Mode = GPIO_MODE_OUTPUT_PP;
  GPIO_InitStruct.Pull = GPIO_NOPULL;
  GPIO_InitStruct.Speed = GPIO_SPEED_FREQ_LOW;
  HAL_GPIO_Init(GPIOC, &GPIO_InitStruct);

  /*Configure GPIO pins : TP908_Pin TX_SLEEP_Pin */
  GPIO_InitStruct.Pin = TP908_Pin|TX_SLEEP_Pin;
  GPIO_InitStruct.Mode = GPIO_MODE_OUTPUT_PP;
  GPIO_InitStruct.Pull = GPIO_NOPULL;
  GPIO_InitStruct.Speed = GPIO_SPEED_FREQ_LOW;
  HAL_GPIO_Init(GPIOA, &GPIO_InitStruct);

  /*Configure GPIO pins : TP909_Pin PUSH_2_Pin TX_RCLK_Pin */
  GPIO_InitStruct.Pin = TP909_Pin|PUSH_2_Pin|TX_RCLK_Pin;
  GPIO_InitStruct.Mode = GPIO_MODE_OUTPUT_PP;
  GPIO_InitStruct.Pull = GPIO_NOPULL;
  GPIO_InitStruct.Speed = GPIO_SPEED_FREQ_LOW;
  HAL_GPIO_Init(GPIOB, &GPIO_InitStruct);

  /*Configure GPIO pin : PUSH_1_Pin */
  GPIO_InitStruct.Pin = PUSH_1_Pin;
  GPIO_InitStruct.Mode = GPIO_MODE_INPUT;
  GPIO_InitStruct.Pull = GPIO_NOPULL;
  HAL_GPIO_Init(PUSH_1_GPIO_Port, &GPIO_InitStruct);

  /*Configure GPIO pins : PUSH_3_Pin OFFSET_LEFT_Pin OFFSET_DOWN_Pin */
  GPIO_InitStruct.Pin = PUSH_3_Pin|OFFSET_LEFT_Pin|OFFSET_DOWN_Pin;
  GPIO_InitStruct.Mode = GPIO_MODE_INPUT;
  GPIO_InitStruct.Pull = GPIO_NOPULL;
  HAL_GPIO_Init(GPIOB, &GPIO_InitStruct);

}

void StartUSB_Transmit(void const * argument)
{
  /* init code for USB_DEVICE */
  MX_USB_DEVICE_Init();
  /* USER CODE BEGIN 5 */
  /* Infinite loop */
  osDelay(1);
  for(;;)
  {
	  osDelay(1);
	  if (CDC_Transmit_FS((uint8_t *) usbdata, strlen(usbdata)) != USBD_OK) {
		  ssd1306_Fill(White);
	  	  ssd1306_SetCursor(6, 20);
	  	  ssd1306_WriteString("COM not established", Font_6x8, Black);
	  	  ssd1306_UpdateScreen();
	  }
	  else {
		  ssd1306_Fill(White);
	  	  ssd1306_SetCursor(6, 20);
	  	  ssd1306_WriteString("COM established", Font_6x8, Black);
	  	  ssd1306_UpdateScreen();
	  }
  }
  /* USER CODE END 5 */
}

void StartLED_Write(void const * argument)
{
  /* USER CODE BEGIN StartLED_Write */
  /* Infinite loop */
  for(;;)
  {
	uint8_t current_leds = led_status & 0b11110000;
	HAL_SPI_Transmit(&hspi3, &current_leds, 1, HAL_MAX_DELAY);
	HAL_GPIO_WritePin(GPIOC, UI_RCLK_Pin, GPIO_PIN_SET);
    osDelay(1);
	HAL_GPIO_WritePin(GPIOC, UI_RCLK_Pin, GPIO_PIN_RESET);
  }
  /* USER CODE END StartLED_Write */
}

void StartUI_Read(void const * argument)
{
  /* USER CODE BEGIN StartUI_Read */
  HAL_GPIO_WritePin(GPIOC, OFFSET_COM_Pin, GPIO_PIN_SET);
  HAL_GPIO_WritePin(GPIOF, INPUT_COM_Pin, GPIO_PIN_SET);

  /* Infinite loop */
  for(;;)
  {
      /* --- Rotary Encoder 1 --- */
      HAL_GPIO_WritePin(GPIOC, OFFSET_COM_Pin, GPIO_PIN_RESET);
      osDelay(1);
      a1 = HAL_GPIO_ReadPin(GPIOC, SCALE_A_Pin);
      b1 = HAL_GPIO_ReadPin(GPIOC, SCALE_B_Pin);
      encoder1_button_state = HAL_GPIO_ReadPin(GPIOC, SCALE_PUSH_Pin);

      if(a1 != last_a_encoder1) {
        encoder1_count += (b1 != a1) ? 1 : -1;
      }
      last_a_encoder1 = a1;

      /* --- D-Pad 2 --- */
      dpad2_up = HAL_GPIO_ReadPin(GPIOC, OFFSET_UP_Pin);
      dpad2_down = HAL_GPIO_ReadPin(GPIOB, OFFSET_DOWN_Pin);
      dpad2_left = HAL_GPIO_ReadPin(GPIOB, OFFSET_LEFT_Pin);
      dpad2_right = HAL_GPIO_ReadPin(GPIOC, OFFSET_RIGHT_Pin);
      dpad2_button = HAL_GPIO_ReadPin(GPIOC, OFFSET_CENTER_Pin);

      HAL_GPIO_WritePin(GPIOC, OFFSET_COM_Pin, GPIO_PIN_SET);
      osDelay(1);

      /* --- Rotary Encoder 2 --- */
      HAL_GPIO_WritePin(GPIOF, INPUT_COM_Pin, GPIO_PIN_RESET);
      osDelay(1);
      a2 = HAL_GPIO_ReadPin(GPIOC, SCALE_A_Pin);
      b2 = HAL_GPIO_ReadPin(GPIOC, SCALE_B_Pin);
      encoder2_button_state = HAL_GPIO_ReadPin(GPIOC, SCALE_PUSH_Pin);

      if(a2 != last_a_encoder2) {
        encoder2_count += (b2 != a2) ? 1 : -1;
      }
      last_a_encoder2 = a2;

      /* --- D-Pad 1 --- */
      dpad1_up = HAL_GPIO_ReadPin(GPIOC, OFFSET_UP_Pin);
      dpad1_down = HAL_GPIO_ReadPin(GPIOB, OFFSET_DOWN_Pin);
      dpad1_left = HAL_GPIO_ReadPin(GPIOB, OFFSET_LEFT_Pin);
      dpad1_right = HAL_GPIO_ReadPin(GPIOC, OFFSET_RIGHT_Pin);
      dpad1_button = HAL_GPIO_ReadPin(GPIOC, OFFSET_CENTER_Pin);

      HAL_GPIO_WritePin(GPIOF, INPUT_COM_Pin, GPIO_PIN_SET);
      osDelay(1);

      /* --- Standalone Buttons --- */
      button1_state = HAL_GPIO_ReadPin(GPIOA, PUSH_1_Pin);
      button2_state = HAL_GPIO_ReadPin(GPIOB, PUSH_2_Pin);
      button3_state = HAL_GPIO_ReadPin(GPIOB, PUSH_3_Pin);
    }
  /* USER CODE END StartUI_Read */
}

void HAL_TIM_PeriodElapsedCallback(TIM_HandleTypeDef *htim)
{
  if (htim->Instance == TIM1) {
    HAL_IncTick();
  }
}

void Error_Handler(void)
{
  __disable_irq();
  while (1)
  {
  }
}
